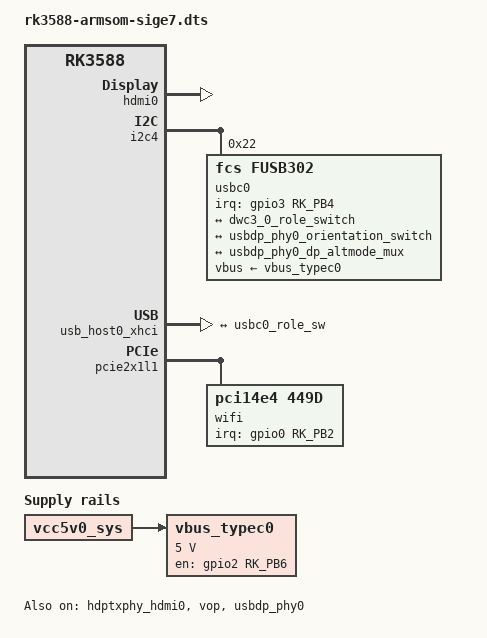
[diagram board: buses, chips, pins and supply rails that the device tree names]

// ADDED HDMI0:
// ============

#include <dt-bindings/soc/rockchip,vop2.h>

&hdmi0 {
	status = "okay";
};

&hdmi0_in {
	hdmi0_in_vp0: endpoint {
		remote-endpoint = <&vp0_out_hdmi0>;
	};
};

&hdptxphy_hdmi0 {
	status = "okay";
};

&vop_mmu {
	status = "okay";
};

&vop {
	status = "okay";
};

&vp0 {
	vp0_out_hdmi0: endpoint@ROCKCHIP_VOP2_EP_HDMI0 {
		reg = <ROCKCHIP_VOP2_EP_HDMI0>;
		remote-endpoint = <&hdmi0_in_vp0>;
	};
};

// ADDED USB-C:
// ============

#include <dt-bindings/usb/pd.h>

/ {
	vbus_typec0: regulator-5v0-0 {
		compatible = "regulator-fixed";
		enable-active-high;
		gpios = <&gpio2 RK_PB6 GPIO_ACTIVE_HIGH>;
		pinctrl-names = "default";
		pinctrl-0 = <&typec5v_pwren_h>;
		regulator-name = "vbus_typec0";
		regulator-min-microvolt = <5000000>;
		regulator-max-microvolt = <5000000>;
		vin-supply = <&vcc5v0_sys>;
	};
};

&i2c4 {
	pinctrl-names = "default";
	pinctrl-0 = <&i2c4m1_xfer>;
	status = "okay";

	usbc0: usb-typec@22 {
		compatible = "fcs,fusb302";
		reg = <0x22>;
		interrupt-parent = <&gpio3>;
		interrupts = <RK_PB4 IRQ_TYPE_LEVEL_LOW>;
		pinctrl-names = "default";
		pinctrl-0 = <&cc_int_l>;
		vbus-supply = <&vbus_typec0>;
		status = "okay";

		usbc0_con: connector {
			compatible = "usb-c-connector";
			label = "USB-C";
			data-role = "dual";
			power-role = "dual";
			try-power-role = "sink";
			op-sink-microwatt = <1000000>;
			sink-pdos =
				<PDO_FIXED(5000, 3000, PDO_FIXED_USB_COMM)>,
				<PDO_VAR(5000, 20000, 5000)>;
			source-pdos =
				<PDO_FIXED(5000, 3000, PDO_FIXED_USB_COMM)>;

			ports {
				#address-cells = <1>;
				#size-cells = <0>;

				port@0 {
					reg = <0>;
					usbc0_role_sw: endpoint {
						remote-endpoint = <&dwc3_0_role_switch>;
					};
				};

				port@1 {
					reg = <1>;
					usbc0_orien_sw: endpoint {
						remote-endpoint = <&usbdp_phy0_orientation_switch>;
					};
				};

				port@2 {
					reg = <2>;
					dp_altmode_mux: endpoint {
						remote-endpoint = <&usbdp_phy0_dp_altmode_mux>;
					};
				};
			};
		};
	};
};

&pinctrl {
	usb {
		cc_int_l: usb-0 {
			rockchip,pins = <3 RK_PB4 RK_FUNC_GPIO &pcfg_pull_none>;
		};

		typec5v_pwren_h: regulator-5v0-0 {
			rockchip,pins = <2 RK_PB6 RK_FUNC_GPIO &pcfg_pull_none>;
		};
	};
};

&usbdp_phy0 {
	mode-switch;
	orientation-switch;
	status = "okay";
	sbu1-dc-gpios = <&gpio4 RK_PA6 GPIO_ACTIVE_HIGH>;
	sbu2-dc-gpios = <&gpio4 RK_PA7 GPIO_ACTIVE_HIGH>;

	port {
		#address-cells = <1>;
		#size-cells = <0>;

		usbdp_phy0_orientation_switch: endpoint@0 {
			reg = <0>;
			remote-endpoint = <&usbc0_orien_sw>;
		};

		usbdp_phy0_dp_altmode_mux: endpoint@1 {
			reg = <1>;
			remote-endpoint = <&dp_altmode_mux>;
		};
	};
};

&usb_host0_xhci {
	usb-role-switch;
	status = "okay";

	port {
		#address-cells = <1>;
		#size-cells = <0>;

		dwc3_0_role_switch: endpoint {
			remote-endpoint = <&usbc0_role_sw>;
		};
	};
};

// ADDED WIFI:
// ===========

&pcie2x1l1 {
	pcie@0,0 {
		reg = <0x400000 0 0 0 0>;
		#address-cells = <3>;
		#size-cells = <2>;
		ranges;
		device_type = "pci";
		bus-range = <0x40 0x4f>;

		wifi: wifi@0,0 {
			compatible = "pci14e4,449d";
			reg = <0x410000 0 0 0 0>;
			interrupt-parent = <&gpio0>;
			interrupts = <RK_PB2 IRQ_TYPE_EDGE_FALLING>;
			interrupt-names = "host-wake";
			clocks = <&hym8563>;
			clock-names = "lpo";
		};
	};
};
